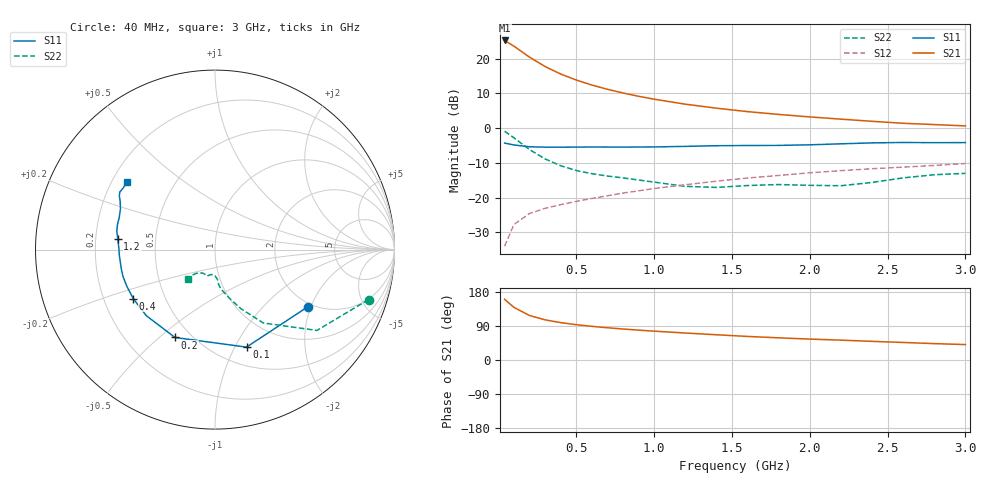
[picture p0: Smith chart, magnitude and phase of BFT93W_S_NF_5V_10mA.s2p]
! Filename:  BFT93WB.S2P  Version:  4.0
! Philips part #: BFT93W  Date: Jun 1994
! Bias condition: Vce=5V, Ic=10mA
#  MHz  S  MA  R  50
! Freq  S11  S21  S12  S22  !GUM [dB]
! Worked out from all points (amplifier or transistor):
!   21 points, 40 MHz to 3 GHz, reference 50 ohm
!   highest |S21| = 25.2 dB at 40 MHz (marker M1)
!   |S21| within 3 dB of that: start of sweep to 142.9 MHz
!   unconditionally stable (mu >= 1): 711.8 MHz to end of sweep
!   at 300 MHz: K = 0.66, MSG = 20.4 dB, |S12| = -23.1 dB
!   at 1 GHz: K = 1.10, MAG = 11.0 dB, |S12| = -17.4 dB
!   at 3 GHz: K = 1.06, MAG = 3.9 dB, |S12| = -10.2 dB
!   lowest NFmin = 2.20 dB at 500 MHz
!   S11 on the Smith chart (normalised r, x): 40 MHz: 1.89, -1.91; 100 MHz: 0.69, -1.11; 200 MHz: 0.41, -0.56; 400 MHz: 0.33, -0.25; 1.2 GHz: 0.30, +0.05; 3 GHz: 0.26, +0.32
40  0.608 -31.5  18.2 160.2  0.02 75.6  0.9 -18.0
100  0.571 -72.1  15.04 138.8  0.041 60.6  0.725 -38.4
200  0.538 -114.5  10.47 117.4  0.059 51.1  0.49 -56.6
300  0.531 -136.1  7.676 106.0  0.07 49.3  0.36 -66.3
400  0.531 -149.0  5.989 98.6  0.079 50.2  0.287 -73.0
500  0.532 -157.3  4.907 93.2  0.088 51.8  0.245 -77.9
600  0.534 -163.6  4.161 88.9  0.097 53.8  0.221 -81.4
700  0.533 -168.6  3.613 85.1  0.106 55.4  0.204 -83.2
800  0.532 -172.9  3.195 81.8  0.116 56.9  0.192 -84.2
900  0.534 -176.8  2.866 78.8  0.125 58.1  0.179 -84.5
1000  0.535 179.7  2.603 76.2  0.135 59.3  0.167 -85.3
1200  0.545 173.7  2.206 71.2  0.153 61.0  0.145 -90.1
1400  0.557 169.2  1.931 66.6  0.172 62.0  0.14 -98.7
1600  0.561 165.5  1.724 62.2  0.191 62.3  0.149 -104.6
1800  0.563 161.2  1.57 58.5  0.208 62.7  0.154 -106.3
2000  0.574 156.6  1.447 55.2  0.227 63.2  0.15 -109.4
2200  0.593 153.0  1.343 52.4  0.244 63.7  0.148 -117.9
2400  0.612 150.6  1.251 49.2  0.26 64.0  0.165 -127.5
2600  0.62 148.8  1.171 46.3  0.274 63.5  0.192 -131.8
2800  0.616 146.0  1.122 43.2  0.29 63.3  0.213 -132.1
3000  0.618 142.3  1.074 40.7  0.309 63.2  0.223 -133.3
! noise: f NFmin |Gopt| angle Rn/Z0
500  2.2  0.304  94.7  0.43
1000  2.9  0.321  136.9  0.27
